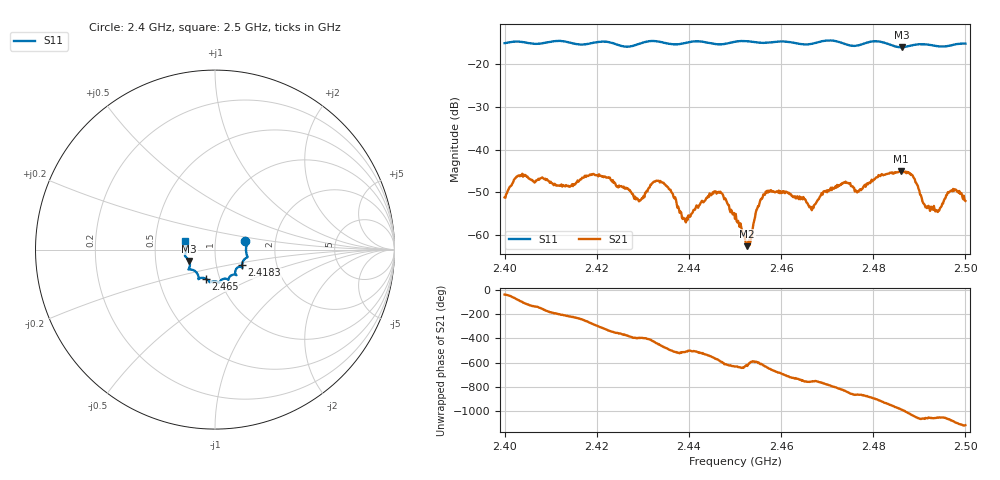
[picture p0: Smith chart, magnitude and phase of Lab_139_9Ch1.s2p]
# Hz S RI R 50
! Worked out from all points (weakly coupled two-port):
!   601 points, 2.4 GHz to 2.5 GHz, reference 50 ohm
!   highest |S21| = -45.08 dB at 2.486 GHz (marker M1); lowest = -62.6 dB at 2.4527 GHz (marker M2)
!   lowest |S11| = -16.1 dB at 2.4862 GHz (marker M3), VSWR 1.37, Z = 37.1 - j4.83 ohm
!   |S11| at or under -10 dB: start of sweep to end of sweep
!   S12 and S22 are empty: the file has one direction only
!   S11 on the Smith chart (normalised r, x): 2.4 GHz: 1.40, +0.13; 2.4183 GHz: 1.33, -0.24; 2.465 GHz: 0.86, -0.29; 2.5 GHz: 0.71, +0.07
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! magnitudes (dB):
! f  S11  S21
! 2.4 GHz  -15.1  -51.2
! 2.4033 GHz  -14.8  -46.3
! 2.4167 GHz  -15.4  -46.9
! 2.4183 GHz  -15.2  -46.1
! 2.429 GHz  -15.3  -51.8
! 2.4333 GHz  -14.7  -47.3
! 2.439 GHz  -15.1  -56.3
! 2.446 GHz  -15.4  -50.3
! 2.45 GHz  -14.8  -56.2
! 2.4527 GHz  -14.7  -62.6
! 2.4567 GHz  -15.0  -49.9
! 2.465 GHz  -15.4  -51.6
! 2.4667 GHz  -15.3  -54.2
! 2.4735 GHz  -15.2  -47.8
! 2.4768 GHz  -15.6  -49.8
! 2.4833 GHz  -15.3  -45.6
! 2.486 GHz  -16.1  -45.1
! 2.4862 GHz  -16.1  -45.3
! 2.4885 GHz  -15.6  -46.0
! 2.4918 GHz  -15.4  -53.3
! 2.4973 GHz  -15.5  -49.2
! 2.5 GHz  -15.2  -52.0
